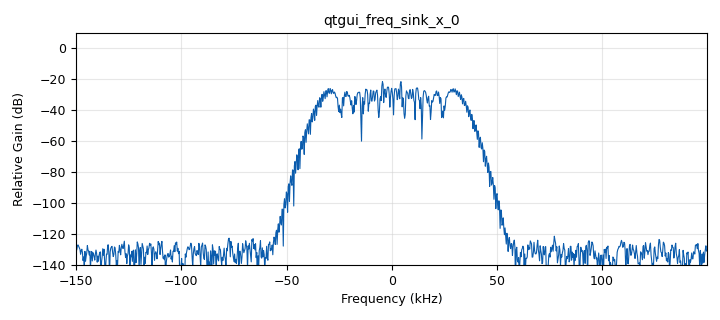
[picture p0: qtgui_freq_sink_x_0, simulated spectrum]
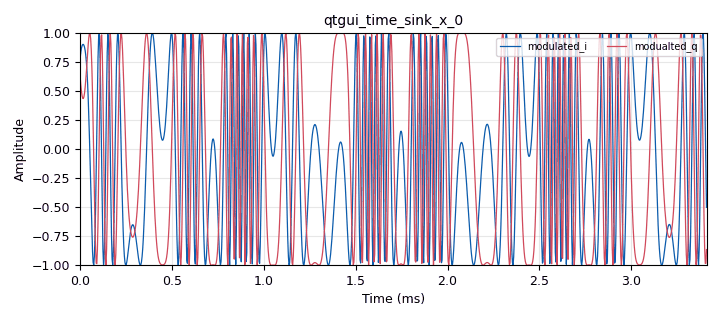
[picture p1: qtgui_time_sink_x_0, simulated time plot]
options:
  parameters:
    author: wcc
    generate_options: qt_gui
    id: lab1_wfm
    output_language: python
    title: lab1_wfm
  states: {}

blocks:
- name: bband_freq_0
  id: variable
  parameters:
    value: '1000'
  states: {}
- name: bband_freq_1
  id: variable
  parameters:
    value: '2000'
  states: {}
- name: bband_freq_2
  id: variable
  parameters:
    value: '800'
  states: {}
- name: samp_rate
  id: variable
  parameters:
    value: '300000'
  states: {}
- name: analog_const_source_x_0
  id: analog_const_source_x
  parameters:
    const: '1'
    type: float
  states: {}
- name: analog_sig_source_x_0_0
  id: analog_sig_source_x
  parameters:
    amp: '0.5'
    freq: bband_freq_0
    offset: '0'
    phase: '0'
    samp_rate: samp_rate
    type: float
    waveform: analog.GR_COS_WAVE
  states: {}
- name: analog_sig_source_x_0_0_0
  id: analog_sig_source_x
  parameters:
    amp: '0.5'
    freq: bband_freq_1
    offset: '0'
    phase: '0'
    samp_rate: samp_rate
    type: float
    waveform: analog.GR_COS_WAVE
  states: {}
- name: analog_sig_source_x_0_0_0_0
  id: analog_sig_source_x
  parameters:
    amp: '0.5'
    freq: bband_freq_2
    offset: '0'
    phase: '0'
    samp_rate: samp_rate
    type: float
    waveform: analog.GR_COS_WAVE
  states: {}
- name: blocks_add_xx_0
  id: blocks_add_xx
  parameters:
    num_inputs: '3'
    type: float
  states: {}
- name: blocks_integrate_xx_0
  id: blocks_integrate_xx
  parameters:
    decim: '1'
    type: float
  states: {}
- name: blocks_magphase_to_complex_0
  id: blocks_magphase_to_complex
  parameters: {}
  states: {}
- name: blocks_multiply_const_vxx_0
  id: blocks_multiply_const_vxx
  parameters:
    const: '20'
    type: float
  states: {}
- name: blocks_throttle_0
  id: blocks_throttle
  parameters:
    samples_per_second: samp_rate
    type: float
  states: {}
- name: qtgui_freq_sink_x_0
  id: qtgui_freq_sink_x
  parameters:
    bw: samp_rate
    fc: '0'
    fftsize: '1024'
    type: complex
    wintype: firdes.WIN_BLACKMAN_hARRIS
  states: {}
- name: qtgui_time_sink_x_0
  id: qtgui_time_sink_x
  parameters:
    entags: 'False'
    label1: modulated_i
    label2: modualted_q
    size: '1024'
    srate: samp_rate
    type: complex
  states: {}

connections:
- [analog_const_source_x_0, '0', blocks_magphase_to_complex_0, '0']
- [analog_sig_source_x_0_0, '0', blocks_add_xx_0, '0']
- [analog_sig_source_x_0_0_0, '0', blocks_add_xx_0, '1']
- [analog_sig_source_x_0_0_0_0, '0', blocks_add_xx_0, '2']
- [blocks_add_xx_0, '0', blocks_integrate_xx_0, '0']
- [blocks_integrate_xx_0, '0', blocks_throttle_0, '0']
- [blocks_magphase_to_complex_0, '0', qtgui_freq_sink_x_0, '0']
- [blocks_magphase_to_complex_0, '0', qtgui_time_sink_x_0, '0']
- [blocks_multiply_const_vxx_0, '0', blocks_magphase_to_complex_0, '1']
- [blocks_throttle_0, '0', blocks_multiply_const_vxx_0, '0']

metadata:
  file_format: 1
